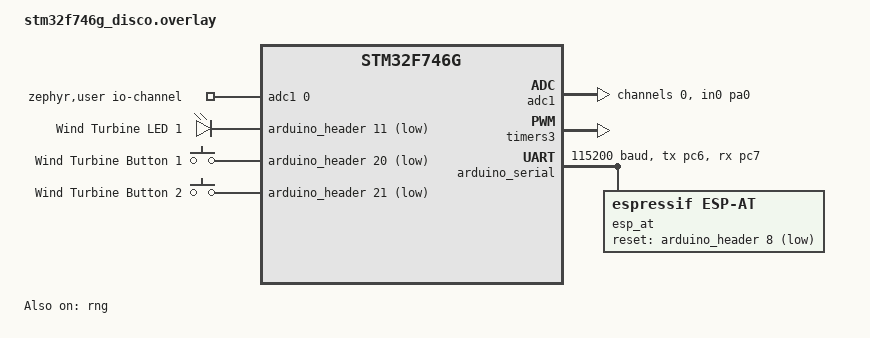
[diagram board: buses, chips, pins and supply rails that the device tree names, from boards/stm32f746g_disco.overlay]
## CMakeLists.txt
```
# @file      CMakeLists.txt
# @brief     wind-turbine project CMakeLists file
#
# Copyright (C) Witekio
#
# This file is part of Zephyr Wind Turbine demonstration.
#
# This demonstration is free software: you can redistribute it and/or modify
# it under the terms of the GNU General Public License as published by
# the Free Software Foundation, either version 3 of the License, or
# (at your option) any later version.
#
# This demonstration is distributed in the hope that it will be useful,
# but WITHOUT ANY WARRANTY; without even the implied warranty of
# MERCHANTABILITY or FITNESS FOR A PARTICULAR PURPOSE. See the
# GNU General Public License for more details.
#
# You should have received a copy of the GNU General Public License
# along with This demonstration. If not, see <http://www.gnu.org/licenses/>.

cmake_minimum_required(VERSION 3.20.0)

# Declare project
find_package(Zephyr REQUIRED HINTS $ENV{ZEPHYR_BASE})
project(wind-turbine)

# Includes
target_include_directories(app PRIVATE "include")

# Sources
target_sources(app PRIVATE
    "src/main.c"
    "src/buttons.c"
    "src/inverter.c"
    "src/wind_turbine.c"
)
target_sources_ifdef(CONFIG_NETWORKING app PRIVATE
    "src/network.c"
)
target_sources_ifdef(CONFIG_DISPLAY app PRIVATE
    "src/display.c"
)
target_sources_ifdef(CONFIG_KAMEA app PRIVATE
    "src/kamea.c"
    "creds/key.c"
    "creds/cert.c"
    "creds/ca.c"
)
```

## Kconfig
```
# @file      Kconfig
# @brief     wind-turbine project Kconfig file
#
# Copyright (C) Witekio
#
# This file is part of Zephyr Wind Turbine demonstration.
#
# This demonstration is free software: you can redistribute it and/or modify
# it under the terms of the GNU General Public License as published by
# the Free Software Foundation, either version 3 of the License, or
# (at your option) any later version.
#
# This demonstration is distributed in the hope that it will be useful,
# but WITHOUT ANY WARRANTY; without even the implied warranty of
# MERCHANTABILITY or FITNESS FOR A PARTICULAR PURPOSE. See the
# GNU General Public License for more details.
#
# You should have received a copy of the GNU General Public License
# along with This demonstration. If not, see <http://www.gnu.org/licenses/>.

menu "Zephyr"

    source "Kconfig.zephyr"

endmenu

menu "Application"

    config EXAMPLE_WIFI_SSID
        string "Wi-Fi network SSID"
        depends on WIFI
        help
            Defines the Wi-Fi network SSID.

    config EXAMPLE_WIFI_PSK
        string "Wi-Fi network Pre-Shared Key (PSK)"
        depends on WIFI && !EXAMPLE_WIFI_AUTHENTICATION_MODE_NONE
        help
            Defines the Wi-Fi network Pre-Shared Key (PSK).

    choice EXAMPLE_WIFI_AUTHENTICATION_MODE
        prompt "Wi-Fi network authentication mode"
        default EXAMPLE_WIFI_AUTHENTICATION_MODE_WPA2_PSK
        depends on WIFI
        help
            Defines the Wi-Fi network authentication mode.

        config EXAMPLE_WIFI_AUTHENTICATION_MODE_WPA2_PSK
            bool "WPA2-PSK"
        config EXAMPLE_WIFI_AUTHENTICATION_MODE_WPA3_SAE
            bool "WPA3-SAE"
        config EXAMPLE_WIFI_AUTHENTICATION_MODE_NONE
            bool "None"
    endchoice

endmenu
```

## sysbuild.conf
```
# @file      sysbuild.conf
# @brief     wind-turbine sysbuild configuration file
#
# Copyright (C) Witekio
#
# This file is part of Zephyr Wind Turbine demonstration.
#
# This demonstration is free software: you can redistribute it and/or modify
# it under the terms of the GNU General Public License as published by
# the Free Software Foundation, either version 3 of the License, or
# (at your option) any later version.
#
# This demonstration is distributed in the hope that it will be useful,
# but WITHOUT ANY WARRANTY; without even the implied warranty of
# MERCHANTABILITY or FITNESS FOR A PARTICULAR PURPOSE. See the
# GNU General Public License for more details.
#
# You should have received a copy of the GNU General Public License
# along with This demonstration. If not, see <http://www.gnu.org/licenses/>.

# MCUboot
SB_CONFIG_BOOTLOADER_MCUBOOT=y
SB_CONFIG_MCUBOOT_MODE_SWAP_SCRATCH=y
```

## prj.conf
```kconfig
# @file      prj.conf
# @brief     wind-turbine project configuration file
#
# Copyright (C) Witekio
#
# This file is part of Zephyr Wind Turbine demonstration.
#
# This demonstration is free software: you can redistribute it and/or modify
# it under the terms of the GNU General Public License as published by
# the Free Software Foundation, either version 3 of the License, or
# (at your option) any later version.
#
# This demonstration is distributed in the hope that it will be useful,
# but WITHOUT ANY WARRANTY; without even the implied warranty of
# MERCHANTABILITY or FITNESS FOR A PARTICULAR PURPOSE. See the
# GNU General Public License for more details.
#
# You should have received a copy of the GNU General Public License
# along with This demonstration. If not, see <http://www.gnu.org/licenses/>.

# General
CONFIG_MAIN_STACK_SIZE=4096
CONFIG_SYSTEM_WORKQUEUE_STACK_SIZE=2048
CONFIG_PICOLIBC=y
CONFIG_SHELL=y

# Networking
CONFIG_NETWORKING=y
CONFIG_NET_TCP=y
CONFIG_NET_SOCKETS=y
CONFIG_NET_IPV6=n
CONFIG_NET_IPV4=y
CONFIG_NET_DHCPV4=y
CONFIG_NET_SHELL=y
CONFIG_NET_MGMT=y
CONFIG_NET_MGMT_EVENT=y
CONFIG_NET_MGMT_EVENT_STACK_SIZE=4096
CONFIG_NET_SOCKETS_SOCKOPT_TLS=y
CONFIG_NET_SOCKETS_TLS_MAX_CONTEXTS=8
CONFIG_NET_SOCKETS_CONNECT_TIMEOUT=30000
CONFIG_NET_CONNECTION_MANAGER=y
CONFIG_NET_MAX_CONN=16

# DNS
CONFIG_DNS_RESOLVER=y
CONFIG_DNS_RESOLVER_ADDITIONAL_BUF_CTR=5
CONFIG_DNS_RESOLVER_ADDITIONAL_QUERIES=2
CONFIG_DNS_RESOLVER_MAX_SERVERS=2
CONFIG_DNS_NUM_CONCUR_QUERIES=5
CONFIG_DNS_SERVER_IP_ADDRESSES=y
CONFIG_DNS_SERVER1="8.8.8.8"
CONFIG_DNS_SERVER2="8.8.4.4"

# SNTP
CONFIG_SNTP=y
CONFIG_NET_CONFIG_SETTINGS=y
CONFIG_NET_CONFIG_CLOCK_SNTP_INIT=y
CONFIG_NET_CONFIG_SNTP_INIT_RESYNC=y
CONFIG_NET_CONFIG_SNTP_INIT_RESYNC_ON_FAILURE_INTERVAL=5
CONFIG_NET_CONFIG_SNTP_INIT_SERVER="0.pool.ntp.org"

# mbedTLS
CONFIG_MBEDTLS=y
CONFIG_MBEDTLS_BUILTIN=y
CONFIG_MBEDTLS_ENABLE_HEAP=y
CONFIG_MBEDTLS_HEAP_SIZE=65536
CONFIG_MBEDTLS_CFG_FILE="config-mbedtls.h"
CONFIG_MBEDTLS_ECDH_C=y
CONFIG_MBEDTLS_ECDSA_C=y
CONFIG_MBEDTLS_ECP_C=y
CONFIG_MBEDTLS_ECP_DP_SECP256R1_ENABLED=y
CONFIG_MBEDTLS_GENPRIME_ENABLED=y
CONFIG_MBEDTLS_CIPHER_AES_ENABLED=y
CONFIG_MBEDTLS_CIPHER_CCM_ENABLED=y
CONFIG_MBEDTLS_CIPHER_GCM_ENABLED=y
CONFIG_MBEDTLS_KEY_EXCHANGE_ECDHE_PSK_ENABLED=y
CONFIG_MBEDTLS_KEY_EXCHANGE_ECDHE_RSA_ENABLED=y
CONFIG_MBEDTLS_KEY_EXCHANGE_ECDHE_ECDSA_ENABLED=y
CONFIG_MBEDTLS_KEY_EXCHANGE_RSA_ENABLED=y
CONFIG_MBEDTLS_PEM_CERTIFICATE_FORMAT=y
CONFIG_MBEDTLS_PK_WRITE_C=y
CONFIG_MBEDTLS_ENTROPY_C=y
CONFIG_MBEDTLS_SSL_MAX_CONTENT_LEN=16384
CONFIG_MBEDTLS_SERVER_NAME_INDICATION=y

# MCUboot
CONFIG_BOOTLOADER_MCUBOOT=y
CONFIG_MCUBOOT_SIGNATURE_KEY_FILE="bootloader/mcuboot/root-rsa-2048.pem"

# Zbus
CONFIG_ZBUS=y
CONFIG_ZBUS_RUNTIME_OBSERVERS=y

# Wind turbine
CONFIG_ADC=y
CONFIG_PWM=y

# Display
CONFIG_DISPLAY=y

# Touchscreen
CONFIG_INPUT=y

# LVGL
CONFIG_LVGL=y
CONFIG_LV_ATTRIBUTE_MEM_ALIGN_SIZE=2
CONFIG_LV_USE_FLOAT=y
CONFIG_LV_USE_LOG=y
CONFIG_LV_USE_LABEL=y
CONFIG_LV_USE_ARC=y
CONFIG_LV_USE_MONKEY=y
CONFIG_LV_FONT_MONTSERRAT_14=y
CONFIG_LV_Z_MEM_POOL_SIZE=16384
CONFIG_LV_Z_SHELL=y

# Kamea
CONFIG_KAMEA=y
CONFIG_KAMEA_CHANNEL_MQTT=y
CONFIG_MQTT_KEEPALIVE=60

# Logging
CONFIG_LOG=y
CONFIG_LOG_MODE_IMMEDIATE=y
```

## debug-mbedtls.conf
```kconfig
# @file      debug-mbedtls.conf
# @brief     wind-turbine debug configuration file
#
# Copyright (C) Witekio
#
# This file is part of Zephyr Wind Turbine demonstration.
#
# This demonstration is free software: you can redistribute it and/or modify
# it under the terms of the GNU General Public License as published by
# the Free Software Foundation, either version 3 of the License, or
# (at your option) any later version.
#
# This demonstration is distributed in the hope that it will be useful,
# but WITHOUT ANY WARRANTY; without even the implied warranty of
# MERCHANTABILITY or FITNESS FOR A PARTICULAR PURPOSE. See the
# GNU General Public License for more details.
#
# You should have received a copy of the GNU General Public License
# along with This demonstration. If not, see <http://www.gnu.org/licenses/>.

# mbedTLS
CONFIG_MBEDTLS_DEBUG=y
CONFIG_MBEDTLS_MEMORY_DEBUG=y
CONFIG_MBEDTLS_LOG_LEVEL_DBG=y
CONFIG_NET_LOG=y
```

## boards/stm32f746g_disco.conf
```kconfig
# @file      stm32f746g_disco.conf
# @brief     nucleo-stm32f746g_disco board project configuration file
#
# Copyright (C) Witekio
#
# This file is part of Zephyr Wind Turbine demonstration.
#
# This demonstration is free software: you can redistribute it and/or modify
# it under the terms of the GNU General Public License as published by
# the Free Software Foundation, either version 3 of the License, or
# (at your option) any later version.
#
# This demonstration is distributed in the hope that it will be useful,
# but WITHOUT ANY WARRANTY; without even the implied warranty of
# MERCHANTABILITY or FITNESS FOR A PARTICULAR PURPOSE. See the
# GNU General Public License for more details.
#
# You should have received a copy of the GNU General Public License
# along with This demonstration. If not, see <http://www.gnu.org/licenses/>.

# Wi-Fi ESP-AT
CONFIG_WIFI=y
CONFIG_WIFI_ESP_AT=y
CONFIG_NET_L2_WIFI_SHELL=y
CONFIG_WIFI_LOG_LEVEL_INF=y
CONFIG_NET_L2_ETHERNET=n
```

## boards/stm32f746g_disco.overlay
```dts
/**
 * @file      stm32f746g_disco.overlay
 * @brief     stm32f746g_disco board project overlay
 *
 * Copyright (C) Witekio
 *
 * This file is part of Zephyr Wind Turbine demonstration.
 *
 * This demonstration is free software: you can redistribute it and/or modify
 * it under the terms of the GNU General Public License as published by
 * the Free Software Foundation, either version 3 of the License, or
 * (at your option) any later version.
 *
 * This demonstration is distributed in the hope that it will be useful,
 * but WITHOUT ANY WARRANTY; without even the implied warranty of
 * MERCHANTABILITY or FITNESS FOR A PARTICULAR PURPOSE. See the
 * GNU General Public License for more details.
 *
 * You should have received a copy of the GNU General Public License
 * along with This demonstration. If not, see <http://www.gnu.org/licenses/>.
 */

/delete-node/ &slot1_partition;
/delete-node/ &storage_partition;

/ {
    chosen {
        zephyr,code-partition = &slot0_partition;
    };

    zephyr,user {
        io-channels = <&adc1 0>;
    };

    aliases {
        wind-turbine-led = &wind_turbine_led;
        wind-turbine-top-button = &wind_turbine_button1;
        wind-turbine-bottom-button = &wind_turbine_button2;
        wind-turbine-motor-timer = &timers3;
    };

    leds {
		wind_turbine_led: led {
			label = "Wind Turbine LED 1";
			gpios = <&arduino_header 11 GPIO_ACTIVE_LOW>; /* Arduino D5 */
		};
	};

    gpio_keys {
        wind_turbine_button1: button1 {
            label = "Wind Turbine Button 1";
            gpios = <&arduino_header 20 GPIO_ACTIVE_LOW>; /* Arduino D14 */
            zephyr,code = <INPUT_KEY_UP>;
        };
        wind_turbine_button2: button2 {
            label = "Wind Turbine Button 2";
            gpios = <&arduino_header 21 GPIO_ACTIVE_LOW>; /* Arduino D15 */
            zephyr,code = <INPUT_KEY_DOWN>;
        };
    };
};

&flash0 {
    partitions {
        compatible = "fixed-partitions";
        #address-cells = <1>;
        #size-cells = <1>;
        /* Bootloader slot: 64KB */
        boot_partition: partition@0 {
            label = "mcuboot";
            reg = <0x00000000 DT_SIZE_K(64)>;
            read-only;
        };
        /* Application slot: 960KB */
        slot0_partition: partition@10000 {
            label = "image-0";
            reg = <0x00010000 DT_SIZE_K(960)>;
        };
    };
};

&n25q128a1 {
    partitions {
        compatible = "fixed-partitions";
        #address-cells = <1>;
        #size-cells = <1>;
        /* Update slot: 960KB */
        slot1_partition: partition@0 {
            label = "image-1";
            reg = <0x00000000 DT_SIZE_K(960)>;
        };
        /* Swap slot: 256KB */
        scratch_partition: partition@F0000 {
            label = "image-scratch";
            reg = <0x000F0000 DT_SIZE_K(256)>;
        };
        /* Storage slot: 8MB */
        storage_partition: partition@800000 {
            label = "storage";
            reg = <0x00800000 DT_SIZE_M(8)>;
        };
    };
};

&adc1 {
    pinctrl-0 = <&adc1_in0_pa0>; /* Arduino A0 */
    pinctrl-names = "default";
    st,adc-prescaler = <4>;
    #address-cells = <1>;
    #size-cells = <0>;
    status = "okay";

    channel@0 {
        reg = <0>;
        zephyr,gain = "ADC_GAIN_1";
        zephyr,reference = "ADC_REF_INTERNAL";
        zephyr,acquisition-time = <ADC_ACQ_TIME_DEFAULT>;
        zephyr,resolution = <12>;
    };
};

&timers3 {
    status = "okay";
    pwm {
        status = "okay";
        pinctrl-0 = <&tim3_ch1_pb4>; /* Arduino D3 */
        pinctrl-names = "default";
    };
};

&pinctrl {
    tim3_ch1_pb4: tim3_ch1_pb4 {
        pinmux = <STM32_PINMUX('B', 4, AF2)>; /* Alternate function 2 */
        bias-pull-up;
        drive-push-pull;
    };
};

&arduino_serial {
    status = "okay";
    current-speed = <115200>;
    pinctrl-0 = < &usart6_tx_pc6 &usart6_rx_pc7 >;
    pinctrl-names = "default";
    esp_at {
        compatible = "espressif,esp-at";
        status = "okay";
        reset-gpios = <&arduino_header 8 GPIO_ACTIVE_LOW>; /* Arduino D2 */
    };
};

&rng {
    status = "okay";
};

&mac {
    status = "disabled";
};
```

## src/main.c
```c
/**
 * @file      main.c
 * @brief     Main entry point
 *
 * Copyright (C) Witekio
 *
 * This file is part of Zephyr Wind Turbine demonstration.
 *
 * This demonstration is free software: you can redistribute it and/or modify
 * it under the terms of the GNU General Public License as published by
 * the Free Software Foundation, either version 3 of the License, or
 * (at your option) any later version.
 *
 * This demonstration is distributed in the hope that it will be useful,
 * but WITHOUT ANY WARRANTY; without even the implied warranty of
 * MERCHANTABILITY or FITNESS FOR A PARTICULAR PURPOSE. See the
 * GNU General Public License for more details.
 *
 * You should have received a copy of the GNU General Public License
 * along with This demonstration. If not, see <http://www.gnu.org/licenses/>.
 */

#include <zephyr/logging/log.h>
LOG_MODULE_REGISTER(wind_turbine_demo, LOG_LEVEL_INF);

/**
 * @brief Main function
 * @return Always returns 0
 */
int
main(void) {

    /* FIXME: this should be a initialized in display.c instead of here */
    extern int display_init(void);
    display_init();

    return 0;
}
```

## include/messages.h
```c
/**
 * @file      messages.h
 * @brief     Definition of zbus message types
 *
 * Copyright (C) Witekio
 *
 * This file is part of Zephyr Wind Turbine demonstration.
 *
 * This demonstration is free software: you can redistribute it and/or modify
 * it under the terms of the GNU General Public License as published by
 * the Free Software Foundation, either version 3 of the License, or
 * (at your option) any later version.
 *
 * This demonstration is distributed in the hope that it will be useful,
 * but WITHOUT ANY WARRANTY; without even the implied warranty of
 * MERCHANTABILITY or FITNESS FOR A PARTICULAR PURPOSE. See the
 * GNU General Public License for more details.
 *
 * You should have received a copy of the GNU General Public License
 * along with This demonstration. If not, see <http://www.gnu.org/licenses/>.
 */

#ifndef __MESSAGES_H__
#define __MESSAGES_H__

#ifdef __cplusplus
extern "C" {
#endif /* __cplusplus */

#include <stdint.h>

/**
 * @brief Button status
 */
struct button_status_msg {
    char *name;  /**< Name */
    bool  state; /**< State */
};

/**
 * @brief Wind turbine status
 */
struct wind_turbine_status_msg {
    uint16_t wind_speed;     /**< Wind speed (km/h) */
    uint16_t generator_rpm;  /**< Generator speed (rpm) */
    uint16_t output_voltage; /**< Output voltage (volts) */
    uint16_t output_power;   /**< Output power (kilo-watts) */
};

/**
 * @brief Inverter status
 */
struct inverter_status_msg {
    uint16_t output_voltage; /**< Output voltage (volts) */
    uint16_t output_power;   /**< Output power (kilo-watts) */
    double   frequency;      /**< Network frequency (Hertz) */
};

/**
 * @brief Network status
 */
struct network_status_msg {
    bool connected;      /**< Connection status */
    char ip_address[32]; /**< IPv4 address, if connected is true */
};

#ifdef __cplusplus
}
#endif /* __cplusplus */

#endif /* __MESSAGES_H__ */
```

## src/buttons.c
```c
/**
 * @file      buttons.c
 * @brief     Handling of the wind turbine buttons
 *
 * Copyright (C) Witekio
 *
 * This file is part of Zephyr Wind Turbine demonstration.
 *
 * This demonstration is free software: you can redistribute it and/or modify
 * it under the terms of the GNU General Public License as published by
 * the Free Software Foundation, either version 3 of the License, or
 * (at your option) any later version.
 *
 * This demonstration is distributed in the hope that it will be useful,
 * but WITHOUT ANY WARRANTY; without even the implied warranty of
 * MERCHANTABILITY or FITNESS FOR A PARTICULAR PURPOSE. See the
 * GNU General Public License for more details.
 *
 * You should have received a copy of the GNU General Public License
 * along with This demonstration. If not, see <http://www.gnu.org/licenses/>.
 */

#include <zephyr/logging/log.h>
LOG_MODULE_REGISTER(wind_turbine_buttons, LOG_LEVEL_INF);

#include <zephyr/drivers/gpio.h>
#include <zephyr/zbus/zbus.h>

#include "messages.h"

/**
 * @brief Work queue stack size (Bytes)
 */
#define BUTTONS_WORK_QUEUE_STACK_SIZE (2048)

/**
 * @brief Work queue priority
 */
#define BUTTONS_WORK_QUEUE_PRIORITY (5)

/**
 * @brief Buttons initialization
 * @return 0 if the function succeeds, error code otherwise
 */
static int buttons_init(void);

/**
 * @brief Top button pressed callback
 * @param port Device struct for the GPIO device
 * @param cb Original struct gpio_callback owning this handler
 * @param pins Mask of pins that triggers the callback handler
 */
static void buttons_top_button_pressed_cb(const struct device *port, struct gpio_callback *cb, uint32_t pins);

/**
 * @brief Bottom button pressed callback
 * @param port Device struct for the GPIO device
 * @param cb Original struct gpio_callback owning this handler
 * @param pins Mask of pins that triggers the callback handler
 */
static void buttons_bottom_button_pressed_cb(const struct device *port, struct gpio_callback *cb, uint32_t pins);

/**
 * @brief Function used to handle top button work
 * @param handle Work handler
 */
static void buttons_top_button_work_handler(struct k_work *handle);

/**
 * @brief Function used to handle bottom button work
 * @param handle Work handler
 */
static void buttons_bottom_button_work_handler(struct k_work *handle);

/**
 * @brief Buttons work queue stack
 */
K_THREAD_STACK_DEFINE(buttons_work_queue_stack, BUTTONS_WORK_QUEUE_STACK_SIZE);

/**
 * @brief Work queue used to handle button pressed
 */
static struct k_work_q buttons_work_queue_handle;

/**
 * @brief Buttons status channel
 */
ZBUS_CHAN_DEFINE(buttons_status_chan, struct button_status_msg, NULL, NULL, ZBUS_OBSERVERS_EMPTY, ZBUS_MSG_INIT(0));

/**
 * @brief Top button
 */
#define WIND_TURBINE_TOP_BUTTON_NODE DT_ALIAS(wind_turbine_top_button)
#if !DT_NODE_HAS_STATUS_OKAY(WIND_TURBINE_TOP_BUTTON_NODE)
#error "wind-turbine-top-button devicetree alias is not defined"
#endif
static const struct gpio_dt_spec buttons_top_button = GPIO_DT_SPEC_GET_OR(WIND_TURBINE_TOP_BUTTON_NODE, gpios, { 0 });
static struct gpio_callback      buttons_top_button_cb_data;
static bool                      buttons_top_button_state = false;
static struct k_work             buttons_top_button_work_handle;

/**
 * @brief Bottom button
 */
#define WIND_TURBINE_BOTTOM_BUTTON_NODE DT_ALIAS(wind_turbine_bottom_button)
#if !DT_NODE_HAS_STATUS_OKAY(WIND_TURBINE_BOTTOM_BUTTON_NODE)
#error "wind-turbine-bottom-button devicetree alias is not defined"
#endif
static const struct gpio_dt_spec buttons_bottom_button = GPIO_DT_SPEC_GET_OR(WIND_TURBINE_BOTTOM_BUTTON_NODE, gpios, { 0 });
static struct gpio_callback      buttons_bottom_button_cb_data;
static bool                      buttons_bottom_button_state = false;
static struct k_work             buttons_bottom_button_work_handle;

static int
buttons_init(void) {

    int result;

    LOG_INF("Initializing buttons...");

    /* Initialize work queue handler */
    k_work_queue_init(&buttons_work_queue_handle);
    k_work_queue_start(&buttons_work_queue_handle, buttons_work_queue_stack, BUTTONS_WORK_QUEUE_STACK_SIZE, BUTTONS_WORK_QUEUE_PRIORITY, NULL);
    k_thread_name_set(k_work_queue_thread_get(&buttons_work_queue_handle), "buttons_work_queue");
    k_work_init(&buttons_top_button_work_handle, buttons_top_button_work_handler);
    k_work_init(&buttons_bottom_button_work_handle, buttons_bottom_button_work_handler);

    /* Configure top button */
    if (!gpio_is_ready_dt(&buttons_top_button)) {
        LOG_ERR("Unable to configure top button '%s', device is not ready", buttons_top_button.port->name);
        return -1;
    }
    if (0 != (result = gpio_pin_configure_dt(&buttons_top_button, GPIO_INPUT))) {
        LOG_ERR("Unable to configure top button '%s', unable to configure pin, result = %d", buttons_top_button.port->name, result);
        return -1;
    }
    if (0 != (result = gpio_pin_interrupt_configure_dt(&buttons_top_button, GPIO_INT_EDGE_BOTH))) {
        LOG_ERR("Unable to configure top button '%s', unable to configure interrupt, result = %d", buttons_top_button.port->name, result);
        return -1;
    }
    gpio_init_callback(&buttons_top_button_cb_data, buttons_top_button_pressed_cb, BIT(buttons_top_button.pin));
    gpio_add_callback(buttons_top_button.port, &buttons_top_button_cb_data);

    /* Configure bottom button */
    if (!gpio_is_ready_dt(&buttons_bottom_button)) {
        LOG_ERR("Unable to configure bottom button '%s', device is not ready", buttons_bottom_button.port->name);
        return -1;
    }
    if (0 != (result = gpio_pin_configure_dt(&buttons_bottom_button, GPIO_INPUT))) {
        LOG_ERR("Unable to configure bottom button '%s', unable to configure pin, result = %d", buttons_bottom_button.port->name, result);
        return -1;
    }
    if (0 != (result = gpio_pin_interrupt_configure_dt(&buttons_bottom_button, GPIO_INT_EDGE_BOTH))) {
        LOG_ERR("Unable to configure bottom button '%s', unable to configure interrupt, result = %d", buttons_bottom_button.port->name, result);
        return -1;
    }
    gpio_init_callback(&buttons_bottom_button_cb_data, buttons_bottom_button_pressed_cb, BIT(buttons_bottom_button.pin));
    gpio_add_callback(buttons_bottom_button.port, &buttons_bottom_button_cb_data);

    LOG_INF("Initializing buttons: DONE");

    return 0;
}

static void
buttons_top_button_pressed_cb(const struct device *port, struct gpio_callback *cb, uint32_t pins) {

    ARG_UNUSED(port);
    ARG_UNUSED(cb);
    ARG_UNUSED(pins);

    /* Submit the work to the work queue */
    if (k_work_submit_to_queue(&buttons_work_queue_handle, &buttons_top_button_work_handle) < 0) {
        LOG_ERR("Unable to submit work to the work queue");
    }
}

static void
buttons_bottom_button_pressed_cb(const struct device *port, struct gpio_callback *cb, uint32_t pins) {

    ARG_UNUSED(port);
    ARG_UNUSED(cb);
    ARG_UNUSED(pins);

    /* Submit the work to the work queue */
    if (k_work_submit_to_queue(&buttons_work_queue_handle, &buttons_bottom_button_work_handle) < 0) {
        LOG_ERR("Unable to submit work to the work queue");
    }
}

static void
buttons_top_button_work_handler(struct k_work *handle) {

    ARG_UNUSED(handle);
    struct button_status_msg button_status_msg = { 0 };

    /* Check button state */
    if ((false == buttons_top_button_state) && (1 == gpio_pin_get_dt(&buttons_top_button))) {
        buttons_top_button_state = true;
    } else if ((true == buttons_top_button_state) && (0 == gpio_pin_get_dt(&buttons_top_button))) {
        buttons_top_button_state = false;
    } else {
        return;
    }

    /* Send button status */
    button_status_msg.name  = "Wind Turbine Top Button";
    button_status_msg.state = buttons_top_button_state;
    zbus_chan_pub(&buttons_status_chan, &button_status_msg, K_MSEC(10));
}

static void
buttons_bottom_button_work_handler(struct k_work *handle) {

    ARG_UNUSED(handle);
    struct button_status_msg button_status_msg = { 0 };

    /* Check button state */
    if ((false == buttons_bottom_button_state) && (1 == gpio_pin_get_dt(&buttons_bottom_button))) {
        buttons_bottom_button_state = true;
    } else if ((true == buttons_bottom_button_state) && (0 == gpio_pin_get_dt(&buttons_bottom_button))) {
        buttons_bottom_button_state = false;
    } else {
        return;
    }

    /* Send button status */
    button_status_msg.name  = "Wind Turbine Bottom Button";
    button_status_msg.state = buttons_bottom_button_state;
    zbus_chan_pub(&buttons_status_chan, &button_status_msg, K_MSEC(10));
}

/**
 * @brief Initialization of buttons
 */
SYS_INIT(buttons_init, APPLICATION, CONFIG_APPLICATION_INIT_PRIORITY);
```

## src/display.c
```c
/**
 * @file      display.c
 * @brief     Management of the display
 *
 * Copyright (C) Witekio
 *
 * This file is part of Zephyr Wind Turbine demonstration.
 *
 * This demonstration is free software: you can redistribute it and/or modify
 * it under the terms of the GNU General Public License as published by
 * the Free Software Foundation, either version 3 of the License, or
 * (at your option) any later version.
 *
 * This demonstration is distributed in the hope that it will be useful,
 * but WITHOUT ANY WARRANTY; without even the implied warranty of
 * MERCHANTABILITY or FITNESS FOR A PARTICULAR PURPOSE. See the
 * GNU General Public License for more details.
 *
 * You should have received a copy of the GNU General Public License
 * along with This demonstration. If not, see <http://www.gnu.org/licenses/>.
 */

#include <zephyr/logging/log.h>
LOG_MODULE_REGISTER(wind_turbine_display, LOG_LEVEL_INF);

#include <zephyr/kernel.h>
#include <zephyr/device.h>
#include <zephyr/drivers/display.h>
#include <zephyr/zbus/zbus.h>
#include <lvgl_zephyr.h>
#include <lvgl.h>

#include "display/background.h"
#include "messages.h"

/**
 * @brief Work queue stack size (Bytes)
 */
#define DISPLAY_WORK_QUEUE_STACK_SIZE (8192)

/**
 * @brief Work queue priority
 */
#define DISPLAY_WORK_QUEUE_PRIORITY (5)

/**
 * @brief Display initialization
 * @return 0 if the function succeeds, error code otherwise
 */
/*static*/ int display_init(void); /* FIXME: this should be a static function */

/**
 * @brief Function used to handle work context timer when it expires
 * @param handle Timer handler
 */
static void display_timer_callback(struct k_timer *handle);

/**
 * @brief Function used to handle work
 * @param handle Work handler
 */
static void display_work_handler(struct k_work *handle);

/**
 * @brief Create screen 1
 */
static void display_create_screen1(void);

/**
 * @brief Create screen 2
 */
static void display_create_screen2(void);

/**
 * @brief Wind turbine status button callback
 * @param event Event value
 */
static void display_screen1_wind_turbine_status_button_callback(lv_event_t *event);

/**
 * @brief Wind turbine current animation callback
 * @param var Wind turbine current animation object
 * @param v Animation value
 */
static void display_screen1_animation_wind_turbine_current_exec_callback(void *var, int32_t v);

/**
 * @brief Screen2 back button callback
 * @param event Event value
 */
static void display_screen2_back_button_callback(lv_event_t *event);

/**
 * @brief Wind turbine status callback
 * @note This callback is used to refresh the wind turbine status on the display
 * @param chan Wind turbine status channel
 */
static void display_wind_turbine_status_callback(const struct zbus_channel *chan);

/**
 * @brief Inverter status callback
 * @note This callback is used to refresh the inverter status on the display
 * @param chan Inverter status channel
 */
static void display_inverter_status_callback(const struct zbus_channel *chan);

/**
 * @brief Network status callback
 * @note This callback is used to refresh the network status on the display
 * @param chan Network status channel
 */
static void display_network_status_callback(const struct zbus_channel *chan);

/**
 * @brief Display work queue stack
 */
K_THREAD_STACK_DEFINE(display_work_queue_stack, DISPLAY_WORK_QUEUE_STACK_SIZE);

/**
 * @brief Timer used to periodically schedule the refresh of the screen
 */
static struct k_timer display_timer_handle;

/**
 * @brief Work queue used to periodically refresh the screen
 */
static struct k_work_q display_work_queue_handle;

/**
 * @brief Work handler used to periodically refresh the screen
 */
static struct k_work display_work_handle;

/**
 * @brief Styles
 */
static lv_style_t display_style_transp;

/**
 * @brief Screen 1
 */
static lv_obj_t *display_screen1                            = NULL;
static lv_obj_t *display_screen1_wind_turbine_status_button = NULL;
static lv_obj_t *display_screen1_wind_turbine_status_label  = NULL;
static lv_obj_t *display_screen1_inverter_status_label      = NULL;
static lv_obj_t *display_screen1_network_status_label       = NULL;

/**
 * @brief Screen 2
 */
static lv_obj_t *display_screen2                   = NULL;
static lv_obj_t *display_screen2_back_button       = NULL;
static lv_obj_t *display_screen2_back_button_label = NULL;
static lv_obj_t *display_screen2_chart             = NULL;

/**
 * @brief Wind turbine current animations and objects
 */
#define DISPLAY_ANIMATION_WIND_TURBINE_CURRENT_OBJECTS_COUNT (12)
static lv_anim_t display_animation_wind_turbine_current[DISPLAY_ANIMATION_WIND_TURBINE_CURRENT_OBJECTS_COUNT];
static lv_obj_t *display_animation_wind_turbine_current_objs[DISPLAY_ANIMATION_WIND_TURBINE_CURRENT_OBJECTS_COUNT];

/**
 * @brief Zbus channels
 */
ZBUS_CHAN_DECLARE(wind_turbine_status_chan);
ZBUS_CHAN_DECLARE(inverter_status_chan);
ZBUS_CHAN_DECLARE(network_status_chan);

/**
 * @brief Zbus listeners
 */
ZBUS_LISTENER_DEFINE(display_wind_turbine_status_listenner, display_wind_turbine_status_callback);
ZBUS_LISTENER_DEFINE(display_inverter_status_listenner, display_inverter_status_callback);
ZBUS_LISTENER_DEFINE(display_network_status_listenner, display_network_status_callback);

/* FIXME: this should be a static function */
/*static*/ int
display_init(void) {

    const struct device *display_dev;

    LOG_INF("Initializing display...");

    /* Check if display is available */
    display_dev = DEVICE_DT_GET(DT_CHOSEN(zephyr_display));
    if (!device_is_ready(display_dev)) {
        LOG_ERR("Device not ready, aborting test");
        return 0; /* FIXME: we should catch the error */
    }

    /* Create work and initialize timer to periodically refresh the display */
    k_work_queue_init(&display_work_queue_handle);
    k_work_queue_start(&display_work_queue_handle, display_work_queue_stack, DISPLAY_WORK_QUEUE_STACK_SIZE, DISPLAY_WORK_QUEUE_PRIORITY, NULL);
    k_thread_name_set(k_work_queue_thread_get(&display_work_queue_handle), "display_work_queue");
    k_work_init(&display_work_handle, display_work_handler);
    k_timer_init(&display_timer_handle, display_timer_callback, NULL);

    /* Create styles */
    lv_style_init(&display_style_transp);
    lv_style_set_bg_opa(&display_style_transp, LV_OPA_TRANSP);
    lv_style_set_border_width(&display_style_transp, 0);

    /* Create screens */
    display_create_screen1();
    display_create_screen2();

    /* Display landing screen */
    lv_scr_load(display_screen1);

    /* Refresh display */
    lv_timer_handler();

    /* Switch ON display */
    display_blanking_off(display_dev);

    /* Start periodic refresh of the display */
    k_timer_start(&display_timer_handle, K_NO_WAIT, K_MSEC(10));

    /* Register to Zbus channels */
    zbus_chan_add_obs(&wind_turbine_status_chan, &display_wind_turbine_status_listenner, K_MSEC(10));
    zbus_chan_add_obs(&inverter_status_chan, &display_inverter_status_listenner, K_MSEC(10));
    zbus_chan_add_obs(&network_status_chan, &display_network_status_listenner, K_MSEC(10));

    LOG_INF("Initializing display: DONE");

    return 0;
}

static void
display_timer_callback(struct k_timer *handle) {

    ARG_UNUSED(handle);

    /* Submit the work to the work queue */
    if (k_work_submit_to_queue(&display_work_queue_handle, &display_work_handle) < 0) {
        LOG_ERR("Unable to submit work to the work queue");
    }
}

static void
display_work_handler(struct k_work *handle) {

    ARG_UNUSED(handle);

    /* Refresh display */
    lv_timer_handler();
}

static void
display_create_screen1(void) {

    int index;

    /* Create screen */
    display_screen1 = lv_obj_create(NULL);

    /* Create background */
    lv_obj_t *background = lv_image_create(display_screen1);
    lv_obj_align(background, LV_ALIGN_CENTER, 0, 0);
    lv_image_set_src(background, &background_screen1);

    /* Create wind turbine status label */
    display_screen1_wind_turbine_status_button = lv_button_create(display_screen1);
    lv_obj_add_event_cb(display_screen1_wind_turbine_status_button, display_screen1_wind_turbine_status_button_callback, LV_EVENT_PRESSED, NULL);
    lv_obj_align(display_screen1_wind_turbine_status_button, LV_ALIGN_CENTER, -175, 35);
    lv_obj_remove_flag(display_screen1_wind_turbine_status_button, LV_OBJ_FLAG_PRESS_LOCK);
    //lv_obj_add_style(display_screen1_wind_turbine_status_button, &display_style_transp, 0); /* FIXME: button used to display the wind turbine status should be transparent */
    display_screen1_wind_turbine_status_label = lv_label_create(display_screen1_wind_turbine_status_button);
    lv_label_set_text(display_screen1_wind_turbine_status_label, "--V\n--kW");
    lv_obj_set_style_text_align(display_screen1_wind_turbine_status_label, LV_TEXT_ALIGN_CENTER, 0);
    lv_obj_center(display_screen1_wind_turbine_status_label);

    /* Create inverter status label */
    display_screen1_inverter_status_label = lv_label_create(display_screen1);
    lv_obj_align(display_screen1_inverter_status_label, LV_ALIGN_CENTER, -35, -50);
    lv_label_set_text(display_screen1_inverter_status_label, "--kV\n--kW\n--Hz");
    lv_obj_set_style_text_align(display_screen1_inverter_status_label, LV_TEXT_ALIGN_CENTER, 0);

    /* Create network status label */
    display_screen1_network_status_label = lv_label_create(display_screen1);
    lv_obj_align(display_screen1_network_status_label, LV_ALIGN_BOTTOM_RIGHT, -10, -10);
    lv_label_set_text(display_screen1_network_status_label, "IP Address: --");
    lv_obj_set_style_text_align(display_screen1_network_status_label, LV_TEXT_ALIGN_CENTER, 0);

    /* Create wind turbine current animations */
    for (index = 0; index < DISPLAY_ANIMATION_WIND_TURBINE_CURRENT_OBJECTS_COUNT; index++) {
        display_animation_wind_turbine_current_objs[index] = lv_obj_create(display_screen1);
        lv_obj_remove_flag(display_animation_wind_turbine_current_objs[index], LV_OBJ_FLAG_SCROLLABLE);
        lv_obj_set_style_bg_color(display_animation_wind_turbine_current_objs[index], lv_palette_main(LV_PALETTE_RED), 0);
        lv_obj_set_style_radius(display_animation_wind_turbine_current_objs[index], LV_RADIUS_CIRCLE, 0);
        lv_obj_set_size(display_animation_wind_turbine_current_objs[index], 15, 15);
        lv_obj_align(display_animation_wind_turbine_current_objs[index], LV_ALIGN_CENTER, -175, 78);
        lv_anim_init(&display_animation_wind_turbine_current[index]);
        lv_anim_set_var(&display_animation_wind_turbine_current[index], display_animation_wind_turbine_current_objs[index]);
        lv_anim_set_values(&display_animation_wind_turbine_current[index], 0, 165);     /* 'v' range from 0 to 165 */
        lv_anim_set_delay(&display_animation_wind_turbine_current[index], 500 * index); /* Create a small distance between the objects */
        lv_anim_set_duration(&display_animation_wind_turbine_current[index], 12288);
        lv_anim_set_reverse_delay(&display_animation_wind_turbine_current[index], 0);
        lv_anim_set_reverse_duration(&display_animation_wind_turbine_current[index], 12288);
        lv_anim_set_repeat_delay(&display_animation_wind_turbine_current[index], 0);
        lv_anim_set_repeat_count(&display_animation_wind_turbine_current[index], LV_ANIM_REPEAT_INFINITE);
        lv_anim_set_path_cb(&display_animation_wind_turbine_current[index], lv_anim_path_ease_in_out);
        lv_anim_set_exec_cb(&display_animation_wind_turbine_current[index], display_screen1_animation_wind_turbine_current_exec_callback);
        lv_anim_start(&display_animation_wind_turbine_current[index]);
    }
}

static void
display_create_screen2(void) {

    /* Create screen */
    display_screen2 = lv_obj_create(NULL);

    /* Create back button */
    display_screen2_back_button = lv_button_create(display_screen2);
    lv_obj_add_event_cb(display_screen2_back_button, display_screen2_back_button_callback, LV_EVENT_PRESSED, NULL);
    lv_obj_align(display_screen2_back_button, LV_ALIGN_BOTTOM_RIGHT, -10, -10);
    lv_obj_remove_flag(display_screen2_back_button, LV_OBJ_FLAG_PRESS_LOCK);
    display_screen2_back_button_label = lv_label_create(display_screen2_back_button);
    lv_label_set_text(display_screen2_back_button_label, "Back");
    lv_obj_set_style_text_align(display_screen2_back_button_label, LV_TEXT_ALIGN_CENTER, 0);
    lv_obj_center(display_screen2_back_button_label);

    /* Create chart */
    display_screen2_chart = lv_chart_create(display_screen2);
    lv_chart_set_update_mode(display_screen2_chart, LV_CHART_UPDATE_MODE_CIRCULAR);
    lv_obj_set_style_size(display_screen2_chart, 0, 0, LV_PART_INDICATOR);
    lv_obj_set_size(display_screen2_chart, 480, 180);
    lv_obj_center(display_screen2_chart);
    lv_chart_set_point_count(display_screen2_chart, 80);
    lv_chart_add_series(display_screen2_chart, lv_palette_main(LV_PALETTE_RED), LV_CHART_AXIS_PRIMARY_Y);
}

static void
display_screen1_wind_turbine_status_button_callback(lv_event_t *event) {

    ARG_UNUSED(event);

    /* Load screen2 */
    lv_scr_load(display_screen2);
}

static void
display_screen1_animation_wind_turbine_current_exec_callback(void *var, int32_t v) {

    /* Compute coordinates based on the animation value 'v' */
    if (v < 25) {
        lv_obj_set_y((lv_obj_t *)var, v + 78);
        lv_obj_set_x((lv_obj_t *)var, -175);
    } else if (v > 140) {
        lv_obj_set_y((lv_obj_t *)var, 243 - v);
        lv_obj_set_x((lv_obj_t *)var, -60);
    } else {
        lv_obj_set_y((lv_obj_t *)var, 103);
        lv_obj_set_x((lv_obj_t *)var, v - 200);
    }

    /* Change color when the object reach the endinds of the animation */
    if (0 == v) {
        lv_obj_set_style_bg_color((lv_obj_t *)var, lv_palette_main(LV_PALETTE_RED), 0);
    }
    if (165 == v) {
        lv_obj_set_style_bg_color((lv_obj_t *)var, lv_palette_main(LV_PALETTE_BROWN), 0);
    }
}

static void
display_screen2_back_button_callback(lv_event_t *event) {

    ARG_UNUSED(event);

    /* Load screen1 */
    lv_scr_load(display_screen1);
}

static void
display_wind_turbine_status_callback(const struct zbus_channel *chan) {

    char                                  str[64];
    const struct wind_turbine_status_msg *wind_turbine_status_msg = zbus_chan_const_msg(chan);
    int                                   index;

    /* Format and display status */
    lv_snprintf(str, sizeof(str), "%dV\n%dkW", wind_turbine_status_msg->output_voltage, wind_turbine_status_msg->output_power);
    lv_label_set_text(display_screen1_wind_turbine_status_label, str);

    /* Modify the duration of the wind turbine current animation based on the output power value */
    uint32_t duration = 12288 - 2 * wind_turbine_status_msg->output_power;
    for (index = 0; index < DISPLAY_ANIMATION_WIND_TURBINE_CURRENT_OBJECTS_COUNT; index++) {
        lv_anim_set_duration(&display_animation_wind_turbine_current[index], duration);
        lv_anim_set_reverse_duration(&display_animation_wind_turbine_current[index], duration);
    }

    /* Update wind turbine output power chart */
    lv_chart_series_t *ser = lv_chart_get_series_next(display_screen2_chart, NULL);
    lv_chart_set_next_value(display_screen2_chart, ser, (100 * wind_turbine_status_msg->output_power) / 4096);
    uint32_t p     = lv_chart_get_point_count(display_screen2_chart);
    uint32_t s     = lv_chart_get_x_start_point(display_screen2_chart, ser);
    int32_t *a     = lv_chart_get_series_y_array(display_screen2_chart, ser);
    a[(s + 1) % p] = LV_CHART_POINT_NONE;
    a[(s + 2) % p] = LV_CHART_POINT_NONE;
    a[(s + 3) % p] = LV_CHART_POINT_NONE;
    lv_chart_refresh(display_screen2_chart);
}

static void
display_inverter_status_callback(const struct zbus_channel *chan) {

    char                              str[64];
    const struct inverter_status_msg *inverter_status_msg = zbus_chan_const_msg(chan);

    /* Format and display status */
    lv_snprintf(str,
                sizeof(str),
                "%.1fkV\n%dkW\n%.1fHz",
                ((double)(inverter_status_msg->output_voltage)) / 1000,
                inverter_status_msg->output_power,
                inverter_status_msg->frequency);
    lv_label_set_text(display_screen1_inverter_status_label, str);
}

static void
display_network_status_callback(const struct zbus_channel *chan) {

    char                             str[64];
    const struct network_status_msg *network_status_msg = zbus_chan_const_msg(chan);

    /* Format and display status */
    if (!network_status_msg->connected) {
        lv_snprintf(str, sizeof(str), "IP Address: --");
    } else {
        lv_snprintf(str, sizeof(str), "IP Address: %s", network_status_msg->ip_address);
    }
    lv_label_set_text(display_screen1_network_status_label, str);
}

/**
 * @brief Initialization of display
 */
//SYS_INIT(display_init, APPLICATION, CONFIG_APPLICATION_INIT_PRIORITY); /* FIXME: this should be initialized here */
```

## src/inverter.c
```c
/**
 * @file      inverter.c
 * @brief     Simulation of the inverter
 *
 * Copyright (C) Witekio
 *
 * This file is part of Zephyr Wind Turbine demonstration.
 *
 * This demonstration is free software: you can redistribute it and/or modify
 * it under the terms of the GNU General Public License as published by
 * the Free Software Foundation, either version 3 of the License, or
 * (at your option) any later version.
 *
 * This demonstration is distributed in the hope that it will be useful,
 * but WITHOUT ANY WARRANTY; without even the implied warranty of
 * MERCHANTABILITY or FITNESS FOR A PARTICULAR PURPOSE. See the
 * GNU General Public License for more details.
 *
 * You should have received a copy of the GNU General Public License
 * along with This demonstration. If not, see <http://www.gnu.org/licenses/>.
 */

#include <zephyr/logging/log.h>
LOG_MODULE_REGISTER(wind_turbine_inverter, LOG_LEVEL_INF);

#include <zephyr/zbus/zbus.h>

#include "messages.h"

/**
 * @brief Inverter initialization
 * @return 0 if the function succeeds, error code otherwise
 */
static int inverter_init(void);

/**
 * @brief Inverter status callback
 * @note This callback is used to simulate inverter parameters from the wind turbine status
 * @param chan Wind turbine status channel
 */
static void inverter_wind_turbine_status_callback(const struct zbus_channel *chan);

/**
 * @brief Inverter status channel
 */
ZBUS_CHAN_DEFINE(inverter_status_chan, struct inverter_status_msg, NULL, NULL, ZBUS_OBSERVERS_EMPTY, ZBUS_MSG_INIT(0));

/**
 * @brief Zbus channels
 */
ZBUS_CHAN_DECLARE(wind_turbine_status_chan);

/**
 * @brief Zbus listener
 */
ZBUS_LISTENER_DEFINE(inverter_wind_turbine_status_listenner, inverter_wind_turbine_status_callback);

static int
inverter_init(void) {

    LOG_INF("Initializing inverter...");

    /* Register to Zbus channels */
    zbus_chan_add_obs(&wind_turbine_status_chan, &inverter_wind_turbine_status_listenner, K_MSEC(10));

    LOG_INF("Initializing inverter: DONE");

    return 0;
}

static void
inverter_wind_turbine_status_callback(const struct zbus_channel *chan) {

    struct inverter_status_msg            inverter_status_msg     = { 0 };
    const struct wind_turbine_status_msg *wind_turbine_status_msg = zbus_chan_const_msg(chan);
    static uint16_t                       previous_output_power   = 0;

    /* Simulate inverter status based on the wind turbine status (numbers are chosen to have a nice and coherent display on the demo) */
    inverter_status_msg.output_power = (99 * wind_turbine_status_msg->output_power) / 100;
    if (wind_turbine_status_msg->output_power > previous_output_power) {
        inverter_status_msg.output_voltage = 20050;
        inverter_status_msg.frequency      = 50.1;
    } else if (wind_turbine_status_msg->output_power < previous_output_power) {
        inverter_status_msg.output_voltage = 19950;
        inverter_status_msg.frequency      = 49.9;
    } else {
        inverter_status_msg.output_voltage = 20000;
        inverter_status_msg.frequency      = 50;
    }
    previous_output_power = wind_turbine_status_msg->output_power;

    /* Send inverter status */
    zbus_chan_pub(&inverter_status_chan, &inverter_status_msg, K_MSEC(10));
}

/**
 * @brief Initialization of inverter
 */
SYS_INIT(inverter_init, APPLICATION, CONFIG_APPLICATION_INIT_PRIORITY);
```
